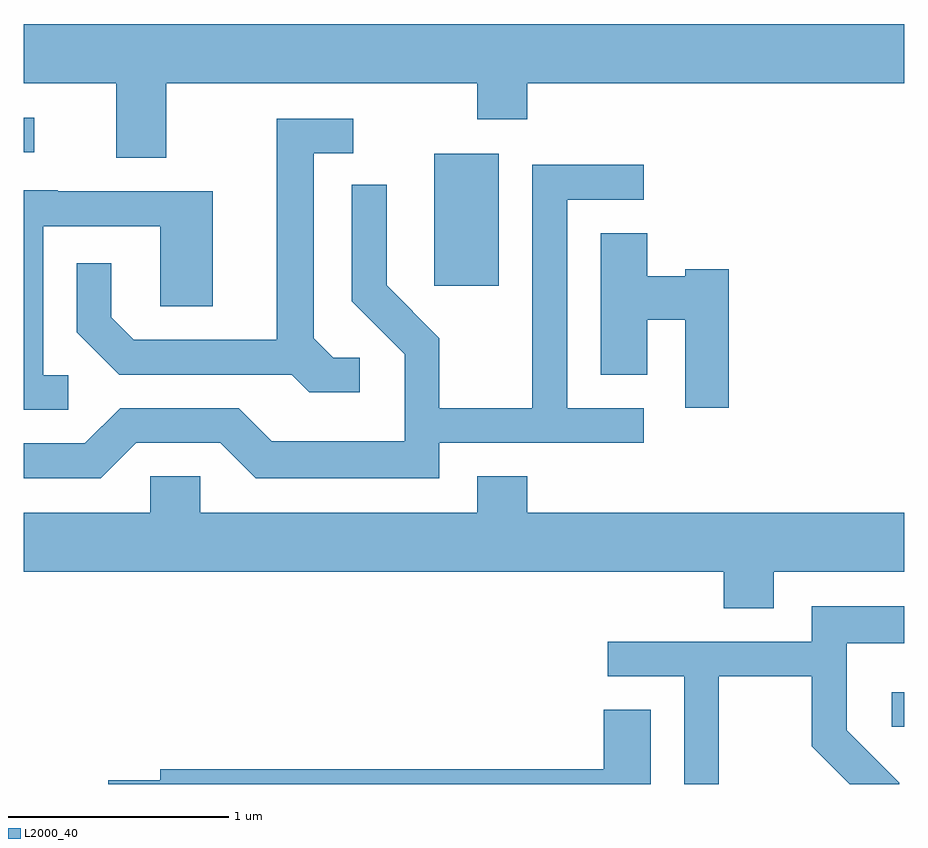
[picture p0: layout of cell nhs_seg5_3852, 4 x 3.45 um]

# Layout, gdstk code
import gdstk
lib = gdstk.Library(unit=1e-6, precision=1e-09)
def R(c, l, rs):  # rectangles x0, y0, x1, y1
    for r in rs: c.add(gdstk.rectangle(r[:2], r[2:], *l))
def P(c, l, *ps):  # polygons
    for p in ps: c.add(gdstk.Polygon(p, *l))
L2000_40 = (2000, 40)

nhs_seg5_3852 = lib.new_cell('nhs_seg5_3852')
R(nhs_seg5_3852, L2000_40, [(303.553,1438.331,303.611,1438.489), (301.476,1440.336,301.769,1440.934), (299.611,1440.941,299.658,1441.099)])
P(nhs_seg5_3852, L2000_40, [(300.259,1441.256),(301.671,1441.256),(301.671,1441.091),(301.899,1441.091),(301.899,1441.256),(303.611,1441.256),(303.611,1441.524),(299.611,1441.524),(299.611,1441.256),(300.031,1441.256),(300.031,1440.916),(300.259,1440.916)],
  [(301.138,1440.009),(301.017,1440.009),(300.929,1440.097),(300.929,1440.936),(301.108,1440.936),(301.108,1441.094),(300.761,1441.094),(300.761,1440.089),(300.112,1440.089),(300.009,1440.192),(300.009,1440.438),(299.851,1440.438),(299.851,1440.124),(300.044,1439.931),(300.829,1439.931),(300.909,1439.851),(301.138,1439.851)],
  [(300.122,1439.621),(300.504,1439.621),(300.664,1439.461),(301.499,1439.461),(301.499,1439.621),(302.428,1439.621),(302.428,1439.779),(302.079,1439.779),(302.079,1440.726),(302.428,1440.726),(302.428,1440.884),(301.921,1440.884),(301.921,1439.779),(301.499,1439.779),(301.499,1440.097),(301.259,1440.337),(301.259,1440.793),(301.101,1440.793),(301.101,1440.264),(301.341,1440.024),(301.341,1439.629),(300.737,1439.629),(300.587,1439.779),(300.049,1439.779),(299.889,1439.619),(299.611,1439.619),(299.611,1439.461),(299.962,1439.461)],
  [(299.813,1439.929),(299.699,1439.929),(299.699,1440.606),(300.231,1440.606),(300.231,1440.241),(300.469,1440.241),(300.469,1440.764),(299.765,1440.764),(299.765,1440.769),(299.611,1440.769),(299.611,1439.771),(299.813,1439.771)],
  [(302.814,1440.409),(302.616,1440.409),(302.616,1440.379),(302.444,1440.379),(302.444,1440.574),(302.231,1440.574),(302.231,1439.931),(302.444,1439.931),(302.444,1440.181),(302.616,1440.181),(302.616,1439.781),(302.814,1439.781)],
  [(303.019,1439.036),(303.611,1439.036),(303.611,1439.304),(301.899,1439.304),(301.899,1439.469),(301.671,1439.469),(301.671,1439.304),(300.414,1439.304),(300.414,1439.469),(300.186,1439.469),(300.186,1439.304),(299.611,1439.304),(299.611,1439.036),(302.791,1439.036),(302.791,1438.871),(303.019,1438.871)],
  [(302.769,1438.561),(303.191,1438.561),(303.191,1438.244),(303.363,1438.072),(303.589,1438.072),(303.589,1438.077),(303.349,1438.317),(303.349,1438.711),(303.611,1438.711),(303.611,1438.879),(303.191,1438.879),(303.191,1438.719),(302.263,1438.719),(302.263,1438.561),(302.611,1438.561),(302.611,1438.072),(302.769,1438.072)],
  [(302.459,1438.409),(302.246,1438.409),(302.246,1438.139),(300.231,1438.139),(300.231,1438.089),(299.996,1438.089),(299.996,1438.072),(302.459,1438.072)])

lib.write_gds('nhs_seg5_3852.gds')
